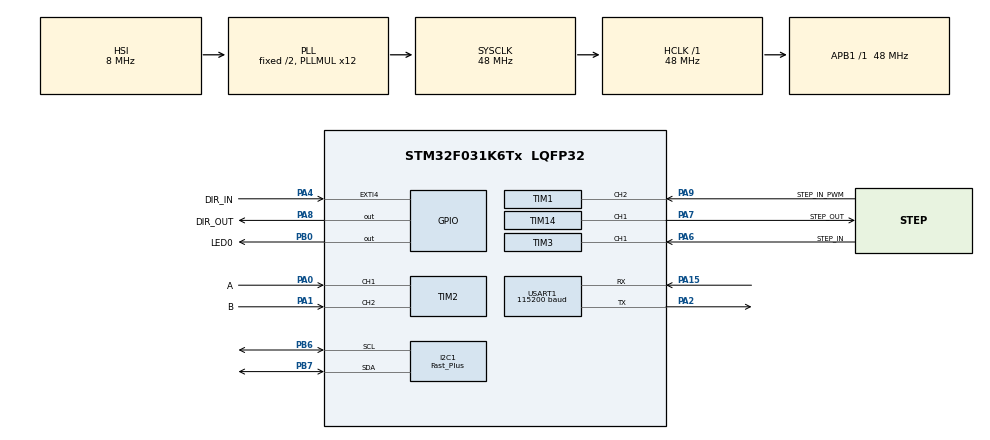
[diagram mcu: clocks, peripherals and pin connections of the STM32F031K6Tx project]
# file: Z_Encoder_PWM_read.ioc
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Dma.Request0=TIM2_UP
Dma.Request1=TIM1_CH2
Dma.TIM1_CH2.1.Direction=DMA_PERIPH_TO_MEMORY
Dma.TIM1_CH2.1.Instance=DMA1_Channel3
Dma.TIM1_CH2.1.MemDataAlignment=DMA_MDATAALIGN_WORD
Dma.TIM1_CH2.1.MemInc=DMA_MINC_ENABLE
Dma.TIM1_CH2.1.Mode=DMA_NORMAL
Dma.TIM1_CH2.1.PeriphDataAlignment=DMA_PDATAALIGN_WORD
Dma.TIM1_CH2.1.PeriphInc=DMA_PINC_DISABLE
Dma.TIM1_CH2.1.Priority=DMA_PRIORITY_MEDIUM
Dma.TIM2_UP.0.Direction=DMA_PERIPH_TO_MEMORY
Dma.TIM2_UP.0.Instance=DMA1_Channel2
Dma.TIM2_UP.0.MemDataAlignment=DMA_MDATAALIGN_WORD
Dma.TIM2_UP.0.MemInc=DMA_MINC_ENABLE
Dma.TIM2_UP.0.Mode=DMA_NORMAL
Dma.TIM2_UP.0.PeriphDataAlignment=DMA_PDATAALIGN_WORD
Dma.TIM2_UP.0.PeriphInc=DMA_PINC_DISABLE
Dma.TIM2_UP.0.Priority=DMA_PRIORITY_VERY_HIGH
I2C1.I2C_Speed_Mode=I2C_Fast_Plus
I2C1.Timing=0x00000001
Mcu.Family=STM32F0
Mcu.Name=STM32F031K6Tx
Mcu.Package=LQFP32
NVIC.DMA1_Channel2_3_IRQn=true\:0\:0\:false\:false\:true\:false\:true
NVIC.EXTI4_15_IRQn=true\:0\:0\:false\:true\:true\:1\:true\:true
NVIC.TIM16_IRQn=true\:3\:0\:true\:true\:true\:4\:true\:true
NVIC.TIM17_IRQn=true\:0\:0\:false\:true\:true\:3\:true\:true
NVIC.TIM1_BRK_UP_TRG_COM_IRQn=true\:0\:0\:false\:true\:true\:5\:true\:true
NVIC.TIM1_CC_IRQn=true\:0\:0\:false\:true\:true\:6\:true\:true
NVIC.TIM2_IRQn=true\:0\:0\:false\:false\:false\:true\:false
NVIC.TIM3_IRQn=true\:0\:0\:false\:true\:true\:2\:true\:true
NVIC.USART1_IRQn=true\:0\:0\:false\:false\:true\:true\:true
PA0.GPIO_Label=A
PA0.Signal=S_TIM2_CH1_ETR
PA1.GPIO_Label=B
PA1.Signal=S_TIM2_CH2
PA13.Mode=Serial_Wire
PA13.Signal=SYS_SWDIO
PA14.Mode=Serial_Wire
PA14.Signal=SYS_SWCLK
PA15.Mode=Asynchronous
PA15.Signal=USART1_RX
PA2.Mode=Asynchronous
PA2.Signal=USART1_TX
PA4.GPIO_Label=DIR_IN
PA4.GPIO_ModeDefaultEXTI=GPIO_MODE_IT_RISING_FALLING
PA4.Signal=GPXTI4
PA6.GPIO_Label=STEP_IN
PA6.Signal=S_TIM3_CH1
PA7.GPIO_Label=STEP_OUT
PA7.GPIO_PuPd=GPIO_PULLDOWN
PA7.GPIO_Speed=GPIO_SPEED_FREQ_MEDIUM
PA7.Signal=S_TIM14_CH1
PA8.GPIO_Label=DIR_OUT
PA8.Signal=GPIO_Output
PA9.GPIO_Label=STEP_IN_PWM
PA9.Signal=S_TIM1_CH2
PB0.GPIO_Label=LED0
PB0.Signal=GPIO_Output
PB6.Mode=I2C
PB6.Signal=I2C1_SCL
PB7.Mode=I2C
PB7.Signal=I2C1_SDA
ProjectManager.HeapSize=0x200
ProjectManager.StackSize=0x400
ProjectManager.TargetToolchain=STM32CubeIDE
RCC.AHBFreq_Value=48000000
RCC.APB1Freq_Value=48000000
RCC.APB1TimFreq_Value=48000000
RCC.HCLKFreq_Value=48000000
RCC.PLLMUL=RCC_PLL_MUL12
RCC.SYSCLKFreq_VALUE=48000000
RCC.SYSCLKSource=RCC_SYSCLKSOURCE_PLLCLK
SH.S_TIM14_CH1.0=TIM14_CH1,PWM Generation1 CH1
SH.S_TIM1_CH2.0=TIM1_CH2,PWM_Input_2
SH.S_TIM2_CH1_ETR.0=TIM2_CH1,Encoder_Interface
SH.S_TIM2_CH2.0=TIM2_CH2,Encoder_Interface
SH.S_TIM3_CH1.0=TIM3_CH1,TriggerSource_TI1ED
TIM1.Period=29999
TIM1.Prescaler=1
TIM14.Channel=TIM_CHANNEL_1
TIM14.Period=29999
TIM14.Prescaler=1
TIM14.Pulse=500
TIM16.Period=999
TIM16.Prescaler=4799
TIM17.Period=899
TIM17.Prescaler=479
TIM2.CounterMode=TIM_COUNTERMODE_UP
TIM2.EncoderMode=TIM_ENCODERMODE_TI12
TIM3.AutoReloadPreload=TIM_AUTORELOAD_PRELOAD_DISABLE
TIM3.ClockDivision=TIM_CLOCKDIVISION_DIV1
TIM3.Period=64000-1
TIM3.Prescaler=0
USART1.BaudRate=115200
USART1.VirtualMode-Asynchronous=VM_ASYNC
VP_TIM14_VS_ClockSourceINT.Mode=Enable_Timer
VP_TIM16_VS_ClockSourceINT.Mode=Enable_Timer
VP_TIM17_VS_ClockSourceINT.Mode=Enable_Timer
VP_TIM1_VS_ClockSourceINT.Mode=Internal
VP_TIM3_VS_ControllerModeClock.Mode=Clock Mode
board=custom

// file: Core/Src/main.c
/* USER CODE BEGIN Header */
/**
  ******************************************************************************
  * @file           : main.c
  * @brief          : Main program body
  ******************************************************************************
  * @attention
  *
  * <h2><center>&copy; Copyright (c) 2020 STMicroelectronics.
  * All rights reserved.</center></h2>
  *
  * This software component is licensed by ST under BSD 3-Clause license,
  * the "License"; You may not use this file except in compliance with the
  * License. You may obtain a copy of the License at:
  *                        opensource.org/licenses/BSD-3-Clause
  *
  ******************************************************************************
  */
/* USER CODE END Header */
#include "main.h"

/* USER CODE BEGIN Includes */
#include "ssd1306_conf.h"
#include "ssd1306_fonts.h"
#include "ssd1306.h"
#include <stdio.h>
/* USER CODE END Includes */

/* USER CODE BEGIN PD */
#define TimerOV 64000
#define EnableTimPWM                TIM1->CR1 |= TIM_CR1_CEN
#define DisableTimPWM            	TIM1->CR1 &= 0b1111111111111110;//(~((U16)TIM_CR1_CEN))
#define TIMER_OFFSET 2000000000

/* USER CODE END PD */

I2C_HandleTypeDef hi2c1;

TIM_HandleTypeDef htim1;
TIM_HandleTypeDef htim2;
TIM_HandleTypeDef htim3;
TIM_HandleTypeDef htim14;
TIM_HandleTypeDef htim16;
TIM_HandleTypeDef htim17;
DMA_HandleTypeDef hdma_tim1_ch2;
DMA_HandleTypeDef hdma_tim2_up;

UART_HandleTypeDef huart1;

/* USER CODE BEGIN PV */
	uint8_t flag;

	int32_t rotaryCNT = 0;
	int32_t encPos = 0;
	int32_t umPos = 0;
	int32_t oldPos = 0;
	int32_t setPos = 0;
	int32_t error = 0;
	int32_t calk = 0;
	int32_t przec = 0;
	int32_t T3_ov_cnt = 0;
	int32_t acc_timer = 0;
	int32_t acceleration = 19999;
	double encPos_mm = 0;
	char str[24];
/* USER CODE END PV */

void SystemClock_Config(void);
static void MX_GPIO_Init(void);
static void MX_DMA_Init(void);
static void MX_TIM2_Init(void);
static void MX_USART1_UART_Init(void);
static void MX_TIM3_Init(void);
static void MX_TIM1_Init(void);
static void MX_I2C1_Init(void);
static void MX_TIM16_Init(void);
static void MX_TIM17_Init(void);
static void MX_TIM14_Init(void);
static void MX_NVIC_Init(void);
/* USER CODE BEGIN PFP */
void print_Encoder(uint32_t counts);
void print_STEPDIR(uint32_t counts);
/* USER CODE END PFP */

/* USER CODE BEGIN 0 */
	void send_string(char* s)
		{
			//while (USART_GetFlagStatus(USART2, USART_FLAG_TXE) == RESET);
			HAL_UART_Transmit(&huart1, (uint8_t*)s, strlen(s), 1000);
		}

	void print_Encoder(uint32_t counts)
	{
		umPos = counts * 5;
		calk = umPos / 1000;
		przec = (umPos - calk * 1000);
		sprintf(str, "%ld.%.3ld mm ", calk, przec);
		send_string(str);
		send_string("\n");
	}
	extern void printData_LCD(int32_t enc_um, int32_t SD_um)
	{
		enc_um = -enc_um;
		calk = enc_um / 1000;
		przec = (enc_um - calk * 1000);
		//print encoder readout in mm
		sprintf(str, "Enc: %ld.%.3ld mm", calk, przec);
		ssd1306_SetCursor(2, 0);
		ssd1306_WriteString(str, Font_7x10, White);
		//calculate position target set by STEP/DIR
		calk = SD_um / 1000;
		przec = (SD_um - calk * 1000);
		//print
		sprintf(str, "Set: %ld.%.3ld mm", calk, przec);
		//sprintf(str, "Set: %d steps     ", steps);
		ssd1306_SetCursor(2, 15);
		ssd1306_WriteString(str, Font_7x10, White);
		ssd1306_UpdateScreen();
	}
	extern void printData_LCD_rotary(int32_t enc_CNT, int32_t SD_um)
	{
		enc_CNT = -enc_CNT;
		//print encoder readout
		sprintf(str, "Enc: %ld cnts    ", enc_CNT);
		ssd1306_SetCursor(2, 0);
		ssd1306_WriteString(str, Font_7x10, White);
		//calculate position target set by STEP/DIR
		calk = SD_um / 1000;
		przec = (SD_um - calk * 1000);
		//print
		sprintf(str, "Set: %ld.%.3ld mm", calk, przec);
		//sprintf(str, "Set: %d steps     ", steps);
		ssd1306_SetCursor(2, 15);
		ssd1306_WriteString(str, Font_7x10, White);
		ssd1306_UpdateScreen();
	}
	extern void print_RAW(int32_t cnt)
	{
		sprintf(str, "%ld counts", cnt);
		send_string(str);
		send_string("\n");
	}
/* USER CODE END 0 */

int main(void)
{

  /* MCU Configuration--------------------------------------------------------*/

  /* Reset of all peripherals, Initializes the Flash interface and the Systick. */
  HAL_Init();

  /* Configure the system clock */
  SystemClock_Config();

  /* Initialize all configured peripherals */
  MX_GPIO_Init();
  MX_DMA_Init();
  MX_TIM2_Init();
  MX_USART1_UART_Init();
  MX_TIM3_Init();
  MX_TIM1_Init();
  MX_I2C1_Init();
  MX_TIM16_Init();
  MX_TIM17_Init();
  MX_TIM14_Init();

  /* Initialize interrupts */
  MX_NVIC_Init();
  /* USER CODE BEGIN 2 */
  HAL_TIM_IC_Start_IT(&htim1, TIM_CHANNEL_1);
  HAL_TIM_IC_Start_IT(&htim1, TIM_CHANNEL_2);
  HAL_TIM_Encoder_Start(&htim2, 1);
  HAL_TIM_Base_Start_IT(&htim3);
  HAL_TIM_PWM_Start(&htim14, TIM_CHANNEL_1);
  HAL_TIM_Base_Start_IT(&htim16);
  HAL_TIM_Base_Start_IT(&htim17);

  ssd1306_Init();
  ssd1306_Fill(Black);
  printData_LCD(encPos, setPos);
  //HAL_NVIC_EnableIRQ(TIM1_IRQ);
  /* USER CODE END 2 */

  /* Infinite loop */
  /* USER CODE BEGIN WHILE */
  setPos = 0; //reset variables to be sure
  T3_ov_cnt = 10; //offset to simulate negative values
  TIM2->CNT = TIMER_OFFSET; //bring the counter somewhere to the middle

  while (1)
  {
    /* USER CODE END WHILE */

    /* USER CODE BEGIN 3 */
	encPos = 5 * (TIM2->CNT - TIMER_OFFSET); //read the value from the Linear Encoder
	//rotaryCNT = (TIM2->CNT - TIMER_OFFSET); //ready the CNTs from the Rotary Encoder
	//setPos = (TimerOV * T3_ov_cnt) + TIM3->CNT; //read the value from the STEPDIR encoder and calculate

	setPos = ((((TimerOV * T3_ov_cnt) + TIM3->CNT) * 10) >> 4) - 400000; // divide by 16;

	//4mm pitch
	//200 steps motor
	//16 uSteps
	//One rotation = 3200 pulses, 1mm

	//get the timer counts and add previous Overflows, apply the offset; then calculate it for micrometers

//--------------------------------------------------------------------------------
	// OUTPUT STEPDIR HANDLER

	error = setPos - encPos; //calculate error

	if ((error) > 0) //handle DIR output
		{
			HAL_GPIO_WritePin(GPIOA, DIR_OUT_Pin, SET); //DIR HIGH
		} else {
			HAL_GPIO_WritePin(GPIOA, DIR_OUT_Pin, RESET); //DIR LOW
		}

	if (error != 0)
	{
		if (oldPos != TIM3->CNT)
			{
				oldPos = TIM3->CNT; //reset state
				TIM17->ARR = 0; //reset timer
			}

		HAL_TIM_PWM_Start(&htim14, TIM_CHANNEL_1);
	} else {
		HAL_TIM_PWM_Stop(&htim14, TIM_CHANNEL_1);

		//TIM14->ARR = 24999;
	}

//-------------------------------------------------------------------------------
  }
  /* USER CODE END 3 */
}

void SystemClock_Config(void)
{
  RCC_OscInitTypeDef RCC_OscInitStruct = {0};
  RCC_ClkInitTypeDef RCC_ClkInitStruct = {0};
  RCC_PeriphCLKInitTypeDef PeriphClkInit = {0};

  /** Initializes the RCC Oscillators according to the specified parameters
  * in the RCC_OscInitTypeDef structure.
  */
  RCC_OscInitStruct.OscillatorType = RCC_OSCILLATORTYPE_HSI;
  RCC_OscInitStruct.HSIState = RCC_HSI_ON;
  RCC_OscInitStruct.HSICalibrationValue = RCC_HSICALIBRATION_DEFAULT;
  RCC_OscInitStruct.PLL.PLLState = RCC_PLL_ON;
  RCC_OscInitStruct.PLL.PLLSource = RCC_PLLSOURCE_HSI;
  RCC_OscInitStruct.PLL.PLLMUL = RCC_PLL_MUL12;
  RCC_OscInitStruct.PLL.PREDIV = RCC_PREDIV_DIV1;
  if (HAL_RCC_OscConfig(&RCC_OscInitStruct) != HAL_OK)
  {
    Error_Handler();
  }
  /** Initializes the CPU, AHB and APB buses clocks
  */
  RCC_ClkInitStruct.ClockType = RCC_CLOCKTYPE_HCLK|RCC_CLOCKTYPE_SYSCLK
                              |RCC_CLOCKTYPE_PCLK1;
  RCC_ClkInitStruct.SYSCLKSource = RCC_SYSCLKSOURCE_PLLCLK;
  RCC_ClkInitStruct.AHBCLKDivider = RCC_SYSCLK_DIV1;
  RCC_ClkInitStruct.APB1CLKDivider = RCC_HCLK_DIV1;

  if (HAL_RCC_ClockConfig(&RCC_ClkInitStruct, FLASH_LATENCY_1) != HAL_OK)
  {
    Error_Handler();
  }
  PeriphClkInit.PeriphClockSelection = RCC_PERIPHCLK_USART1|RCC_PERIPHCLK_I2C1;
  PeriphClkInit.Usart1ClockSelection = RCC_USART1CLKSOURCE_PCLK1;
  PeriphClkInit.I2c1ClockSelection = RCC_I2C1CLKSOURCE_HSI;
  if (HAL_RCCEx_PeriphCLKConfig(&PeriphClkInit) != HAL_OK)
  {
    Error_Handler();
  }
}

/**
  * @brief NVIC Configuration.
  * @retval None
  */
static void MX_NVIC_Init(void)
{
  /* EXTI4_15_IRQn interrupt configuration */
  HAL_NVIC_SetPriority(EXTI4_15_IRQn, 0, 0);
  HAL_NVIC_EnableIRQ(EXTI4_15_IRQn);
  /* TIM3_IRQn interrupt configuration */
  HAL_NVIC_SetPriority(TIM3_IRQn, 0, 0);
  HAL_NVIC_EnableIRQ(TIM3_IRQn);
  /* TIM17_IRQn interrupt configuration */
  HAL_NVIC_SetPriority(TIM17_IRQn, 0, 0);
  HAL_NVIC_EnableIRQ(TIM17_IRQn);
  /* TIM16_IRQn interrupt configuration */
  HAL_NVIC_SetPriority(TIM16_IRQn, 3, 0);
  HAL_NVIC_EnableIRQ(TIM16_IRQn);
  /* TIM1_BRK_UP_TRG_COM_IRQn interrupt configuration */
  HAL_NVIC_SetPriority(TIM1_BRK_UP_TRG_COM_IRQn, 0, 0);
  HAL_NVIC_EnableIRQ(TIM1_BRK_UP_TRG_COM_IRQn);
  /* TIM1_CC_IRQn interrupt configuration */
  HAL_NVIC_SetPriority(TIM1_CC_IRQn, 0, 0);
  HAL_NVIC_EnableIRQ(TIM1_CC_IRQn);
}

static void MX_I2C1_Init(void)
{

  hi2c1.Instance = I2C1;
  hi2c1.Init.Timing = 0x00000001;
  hi2c1.Init.OwnAddress1 = 0;
  hi2c1.Init.AddressingMode = I2C_ADDRESSINGMODE_7BIT;
  hi2c1.Init.DualAddressMode = I2C_DUALADDRESS_DISABLE;
  hi2c1.Init.OwnAddress2 = 0;
  hi2c1.Init.OwnAddress2Masks = I2C_OA2_NOMASK;
  hi2c1.Init.GeneralCallMode = I2C_GENERALCALL_DISABLE;
  hi2c1.Init.NoStretchMode = I2C_NOSTRETCH_DISABLE;
  if (HAL_I2C_Init(&hi2c1) != HAL_OK)
  {
    Error_Handler();
  }
  /** Configure Analogue filter
  */
  if (HAL_I2CEx_ConfigAnalogFilter(&hi2c1, I2C_ANALOGFILTER_ENABLE) != HAL_OK)
  {
    Error_Handler();
  }
  /** Configure Digital filter
  */
  if (HAL_I2CEx_ConfigDigitalFilter(&hi2c1, 0) != HAL_OK)
  {
    Error_Handler();
  }
  /** I2C Fast mode Plus enable
  */
  __HAL_SYSCFG_FASTMODEPLUS_ENABLE(I2C_FASTMODEPLUS_I2C1);

}

static void MX_TIM1_Init(void)
{

  TIM_ClockConfigTypeDef sClockSourceConfig = {0};
  TIM_SlaveConfigTypeDef sSlaveConfig = {0};
  TIM_IC_InitTypeDef sConfigIC = {0};
  TIM_MasterConfigTypeDef sMasterConfig = {0};

  htim1.Instance = TIM1;
  htim1.Init.Prescaler = 1;
  htim1.Init.CounterMode = TIM_COUNTERMODE_UP;
  htim1.Init.Period = 29999;
  htim1.Init.ClockDivision = TIM_CLOCKDIVISION_DIV1;
  htim1.Init.RepetitionCounter = 0;
  htim1.Init.AutoReloadPreload = TIM_AUTORELOAD_PRELOAD_DISABLE;
  if (HAL_TIM_Base_Init(&htim1) != HAL_OK)
  {
    Error_Handler();
  }
  sClockSourceConfig.ClockSource = TIM_CLOCKSOURCE_INTERNAL;
  if (HAL_TIM_ConfigClockSource(&htim1, &sClockSourceConfig) != HAL_OK)
  {
    Error_Handler();
  }
  if (HAL_TIM_IC_Init(&htim1) != HAL_OK)
  {
    Error_Handler();
  }
  sSlaveConfig.SlaveMode = TIM_SLAVEMODE_RESET;
  sSlaveConfig.InputTrigger = TIM_TS_TI2FP2;
  sSlaveConfig.TriggerPolarity = TIM_INPUTCHANNELPOLARITY_FALLING;
  sSlaveConfig.TriggerPrescaler = TIM_ICPSC_DIV1;
  sSlaveConfig.TriggerFilter = 0;
  if (HAL_TIM_SlaveConfigSynchro(&htim1, &sSlaveConfig) != HAL_OK)
  {
    Error_Handler();
  }
  sConfigIC.ICPolarity = TIM_INPUTCHANNELPOLARITY_RISING;
  sConfigIC.ICSelection = TIM_ICSELECTION_INDIRECTTI;
  sConfigIC.ICPrescaler = TIM_ICPSC_DIV1;
  sConfigIC.ICFilter = 0;
  if (HAL_TIM_IC_ConfigChannel(&htim1, &sConfigIC, TIM_CHANNEL_1) != HAL_OK)
  {
    Error_Handler();
  }
  sConfigIC.ICPolarity = TIM_INPUTCHANNELPOLARITY_FALLING;
  sConfigIC.ICSelection = TIM_ICSELECTION_DIRECTTI;
  if (HAL_TIM_IC_ConfigChannel(&htim1, &sConfigIC, TIM_CHANNEL_2) != HAL_OK)
  {
    Error_Handler();
  }
  sMasterConfig.MasterOutputTrigger = TIM_TRGO_RESET;
  sMasterConfig.MasterSlaveMode = TIM_MASTERSLAVEMODE_DISABLE;
  if (HAL_TIMEx_MasterConfigSynchronization(&htim1, &sMasterConfig) != HAL_OK)
  {
    Error_Handler();
  }

}

static void MX_TIM2_Init(void)
{

  TIM_Encoder_InitTypeDef sConfig = {0};
  TIM_MasterConfigTypeDef sMasterConfig = {0};

  htim2.Instance = TIM2;
  htim2.Init.Prescaler = 0;
  htim2.Init.CounterMode = TIM_COUNTERMODE_UP;
  htim2.Init.Period = 4294967295;
  htim2.Init.ClockDivision = TIM_CLOCKDIVISION_DIV1;
  htim2.Init.AutoReloadPreload = TIM_AUTORELOAD_PRELOAD_DISABLE;
  sConfig.EncoderMode = TIM_ENCODERMODE_TI12;
  sConfig.IC1Polarity = TIM_ICPOLARITY_RISING;
  sConfig.IC1Selection = TIM_ICSELECTION_DIRECTTI;
  sConfig.IC1Prescaler = TIM_ICPSC_DIV1;
  sConfig.IC1Filter = 0;
  sConfig.IC2Polarity = TIM_ICPOLARITY_RISING;
  sConfig.IC2Selection = TIM_ICSELECTION_DIRECTTI;
  sConfig.IC2Prescaler = TIM_ICPSC_DIV1;
  sConfig.IC2Filter = 0;
  if (HAL_TIM_Encoder_Init(&htim2, &sConfig) != HAL_OK)
  {
    Error_Handler();
  }
  sMasterConfig.MasterOutputTrigger = TIM_TRGO_RESET;
  sMasterConfig.MasterSlaveMode = TIM_MASTERSLAVEMODE_DISABLE;
  if (HAL_TIMEx_MasterConfigSynchronization(&htim2, &sMasterConfig) != HAL_OK)
  {
    Error_Handler();
  }

}

static void MX_TIM3_Init(void)
{

  TIM_SlaveConfigTypeDef sSlaveConfig = {0};
  TIM_MasterConfigTypeDef sMasterConfig = {0};

  htim3.Instance = TIM3;
  htim3.Init.Prescaler = 0;
  htim3.Init.CounterMode = TIM_COUNTERMODE_UP;
  htim3.Init.Period = 64000-1;
  htim3.Init.ClockDivision = TIM_CLOCKDIVISION_DIV1;
  htim3.Init.AutoReloadPreload = TIM_AUTORELOAD_PRELOAD_DISABLE;
  if (HAL_TIM_Base_Init(&htim3) != HAL_OK)
  {
    Error_Handler();
  }
  sSlaveConfig.SlaveMode = TIM_SLAVEMODE_EXTERNAL1;
  sSlaveConfig.InputTrigger = TIM_TS_TI1F_ED;
  sSlaveConfig.TriggerFilter = 0;
  if (HAL_TIM_SlaveConfigSynchro(&htim3, &sSlaveConfig) != HAL_OK)
  {
    Error_Handler();
  }
  sMasterConfig.MasterOutputTrigger = TIM_TRGO_RESET;
  sMasterConfig.MasterSlaveMode = TIM_MASTERSLAVEMODE_DISABLE;
  if (HAL_TIMEx_MasterConfigSynchronization(&htim3, &sMasterConfig) != HAL_OK)
  {
    Error_Handler();
  }

}

static void MX_TIM14_Init(void)
{

  TIM_OC_InitTypeDef sConfigOC = {0};

  htim14.Instance = TIM14;
  htim14.Init.Prescaler = 1;
  htim14.Init.CounterMode = TIM_COUNTERMODE_UP;
  htim14.Init.Period = 29999;
  htim14.Init.ClockDivision = TIM_CLOCKDIVISION_DIV1;
  htim14.Init.AutoReloadPreload = TIM_AUTORELOAD_PRELOAD_DISABLE;
  if (HAL_TIM_Base_Init(&htim14) != HAL_OK)
  {
    Error_Handler();
  }
  if (HAL_TIM_PWM_Init(&htim14) != HAL_OK)
  {
    Error_Handler();
  }
  sConfigOC.OCMode = TIM_OCMODE_PWM1;
  sConfigOC.Pulse = 500;
  sConfigOC.OCPolarity = TIM_OCPOLARITY_HIGH;
  sConfigOC.OCFastMode = TIM_OCFAST_DISABLE;
  if (HAL_TIM_PWM_ConfigChannel(&htim14, &sConfigOC, TIM_CHANNEL_1) != HAL_OK)
  {
    Error_Handler();
  }
  HAL_TIM_MspPostInit(&htim14);

}

static void MX_TIM16_Init(void)
{

  htim16.Instance = TIM16;
  htim16.Init.Prescaler = 4799;
  htim16.Init.CounterMode = TIM_COUNTERMODE_UP;
  htim16.Init.Period = 999;
  htim16.Init.ClockDivision = TIM_CLOCKDIVISION_DIV1;
  htim16.Init.RepetitionCounter = 0;
  htim16.Init.AutoReloadPreload = TIM_AUTORELOAD_PRELOAD_DISABLE;
  if (HAL_TIM_Base_Init(&htim16) != HAL_OK)
  {
    Error_Handler();
  }

}

static void MX_TIM17_Init(void)
{

  htim17.Instance = TIM17;
  htim17.Init.Prescaler = 479;
  htim17.Init.CounterMode = TIM_COUNTERMODE_UP;
  htim17.Init.Period = 899;
  htim17.Init.ClockDivision = TIM_CLOCKDIVISION_DIV1;
  htim17.Init.RepetitionCounter = 0;
  htim17.Init.AutoReloadPreload = TIM_AUTORELOAD_PRELOAD_DISABLE;
  if (HAL_TIM_Base_Init(&htim17) != HAL_OK)
  {
    Error_Handler();
  }

}

static void MX_USART1_UART_Init(void)
{

  huart1.Instance = USART1;
  huart1.Init.BaudRate = 115200;
  huart1.Init.WordLength = UART_WORDLENGTH_8B;
  huart1.Init.StopBits = UART_STOPBITS_1;
  huart1.Init.Parity = UART_PARITY_NONE;
  huart1.Init.Mode = UART_MODE_TX_RX;
  huart1.Init.HwFlowCtl = UART_HWCONTROL_NONE;
  huart1.Init.OverSampling = UART_OVERSAMPLING_16;
  huart1.Init.OneBitSampling = UART_ONE_BIT_SAMPLE_DISABLE;
  huart1.AdvancedInit.AdvFeatureInit = UART_ADVFEATURE_NO_INIT;
  if (HAL_UART_Init(&huart1) != HAL_OK)
  {
    Error_Handler();
  }

}

static void MX_DMA_Init(void)
{

  /* DMA controller clock enable */
  __HAL_RCC_DMA1_CLK_ENABLE();

  /* DMA interrupt init */
  /* DMA1_Channel2_3_IRQn interrupt configuration */
  HAL_NVIC_SetPriority(DMA1_Channel2_3_IRQn, 0, 0);
  HAL_NVIC_EnableIRQ(DMA1_Channel2_3_IRQn);

}

static void MX_GPIO_Init(void)
{
  GPIO_InitTypeDef GPIO_InitStruct = {0};

  /* GPIO Ports Clock Enable */
  __HAL_RCC_GPIOA_CLK_ENABLE();
  __HAL_RCC_GPIOB_CLK_ENABLE();

  /*Configure GPIO pin Output Level */
  HAL_GPIO_WritePin(LED0_GPIO_Port, LED0_Pin, GPIO_PIN_RESET);

  /*Configure GPIO pin Output Level */
  HAL_GPIO_WritePin(DIR_OUT_GPIO_Port, DIR_OUT_Pin, GPIO_PIN_RESET);

  /*Configure GPIO pin : DIR_IN_Pin */
  GPIO_InitStruct.Pin = DIR_IN_Pin;
  GPIO_InitStruct.Mode = GPIO_MODE_IT_RISING_FALLING;
  GPIO_InitStruct.Pull = GPIO_NOPULL;
  HAL_GPIO_Init(DIR_IN_GPIO_Port, &GPIO_InitStruct);

  /*Configure GPIO pin : LED0_Pin */
  GPIO_InitStruct.Pin = LED0_Pin;
  GPIO_InitStruct.Mode = GPIO_MODE_OUTPUT_PP;
  GPIO_InitStruct.Pull = GPIO_NOPULL;
  GPIO_InitStruct.Speed = GPIO_SPEED_FREQ_LOW;
  HAL_GPIO_Init(LED0_GPIO_Port, &GPIO_InitStruct);

  /*Configure GPIO pin : DIR_OUT_Pin */
  GPIO_InitStruct.Pin = DIR_OUT_Pin;
  GPIO_InitStruct.Mode = GPIO_MODE_OUTPUT_PP;
  GPIO_InitStruct.Pull = GPIO_NOPULL;
  GPIO_InitStruct.Speed = GPIO_SPEED_FREQ_LOW;
  HAL_GPIO_Init(DIR_OUT_GPIO_Port, &GPIO_InitStruct);

}

void Error_Handler(void)
{
}

/************************ (C) COPYRIGHT STMicroelectronics *****END OF FILE****/
